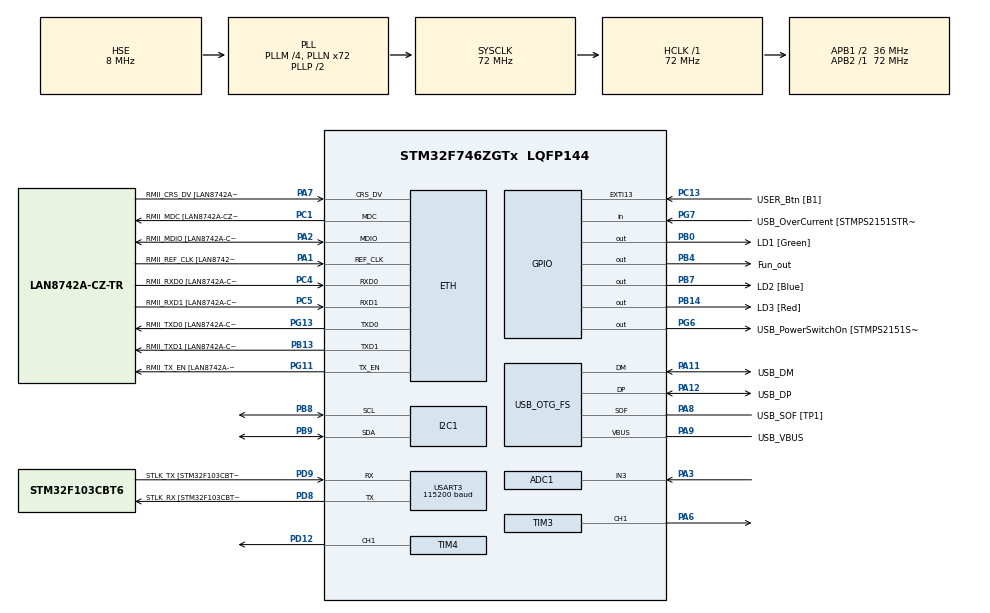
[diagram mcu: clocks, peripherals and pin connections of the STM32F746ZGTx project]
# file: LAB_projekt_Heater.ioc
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ADC1.Channel-0\#ChannelRegularConversion=ADC_CHANNEL_3
ADC1.NbrOfConversionFlag=1
ADC1.Rank-0\#ChannelRegularConversion=1
ADC1.SamplingTime-0\#ChannelRegularConversion=ADC_SAMPLETIME_3CYCLES
ADC1.master=1
Dma.ADC1.0.Direction=DMA_PERIPH_TO_MEMORY
Dma.ADC1.0.FIFOMode=DMA_FIFOMODE_DISABLE
Dma.ADC1.0.Instance=DMA2_Stream0
Dma.ADC1.0.MemDataAlignment=DMA_MDATAALIGN_HALFWORD
Dma.ADC1.0.MemInc=DMA_MINC_ENABLE
Dma.ADC1.0.Mode=DMA_NORMAL
Dma.ADC1.0.PeriphDataAlignment=DMA_PDATAALIGN_HALFWORD
Dma.ADC1.0.PeriphInc=DMA_PINC_DISABLE
Dma.ADC1.0.Priority=DMA_PRIORITY_LOW
Dma.Request0=ADC1
ETH.MediaInterface=HAL_ETH_RMII_MODE
ETH.PHY_Name=LAN8742A_PHY_ADDRESS
ETH.PHY_Value=0
ETH.PhyAddress=0
I2C1.Timing=0x00808CD2
Mcu.Family=STM32F7
Mcu.Name=STM32F746ZGTx
Mcu.Package=LQFP144
NVIC.ADC_IRQn=true\:0\:0\:false\:false\:true\:true\:true\:true
NVIC.DMA2_Stream0_IRQn=true\:0\:0\:false\:false\:true\:false\:true\:true
NVIC.PriorityGroup=NVIC_PRIORITYGROUP_4
NVIC.TIM3_IRQn=true\:0\:0\:true\:false\:true\:true\:true\:true
NVIC.TIM4_IRQn=true\:0\:0\:true\:false\:true\:true\:true\:true
NVIC.TIM6_DAC_IRQn=true\:0\:0\:true\:false\:true\:true\:true\:true
NVIC.USART3_IRQn=true\:0\:0\:false\:false\:true\:true\:true\:true
PA1.GPIO_Label=RMII_REF_CLK [LAN8742A-CZ-TR_REFCLK0]
PA1.Mode=RMII
PA1.Signal=ETH_REF_CLK
PA10.GPIO_Label=USB_ID
PA10.Signal=USB_OTG_FS_ID
PA11.GPIO_Label=USB_DM
PA11.Mode=Device_Only
PA11.Signal=USB_OTG_FS_DM
PA12.GPIO_Label=USB_DP
PA12.Mode=Device_Only
PA12.Signal=USB_OTG_FS_DP
PA13.GPIO_Label=TMS
PA13.Mode=Serial_Wire
PA13.Signal=SYS_JTMS-SWDIO
PA14.GPIO_Label=TCK
PA14.Mode=Serial_Wire
PA14.Signal=SYS_JTCK-SWCLK
PA2.GPIO_Label=RMII_MDIO [LAN8742A-CZ-TR_MDIO]
PA2.Mode=RMII
PA2.Signal=ETH_MDIO
PA3.Signal=ADCx_IN3
PA6.Signal=S_TIM3_CH1
PA7.GPIO_Label=RMII_CRS_DV [LAN8742A-CZ-TR_CRS_DV]
PA7.Mode=RMII
PA7.Signal=ETH_CRS_DV
PA8.GPIO_Label=USB_SOF [TP1]
PA8.Mode=Activate_SOF_FS
PA8.Signal=USB_OTG_FS_SOF
PA9.GPIO_Label=USB_VBUS
PA9.Mode=Activate_VBUS
PA9.Signal=USB_OTG_FS_VBUS
PB0.GPIO_Label=LD1 [Green]
PB0.Signal=GPIO_Output
PB13.GPIO_Label=RMII_TXD1 [LAN8742A-CZ-TR_TXD1]
PB13.Mode=RMII
PB13.Signal=ETH_TXD1
PB14.GPIO_Label=LD3 [Red]
PB14.Signal=GPIO_Output
PB3.GPIO_Label=SW0
PB3.Signal=SYS_JTDO-SWO
PB4.GPIO_Label=Fun_out
PB4.Signal=GPIO_Output
PB7.GPIO_Label=LD2 [Blue]
PB7.Signal=GPIO_Output
PB8.Mode=I2C
PB8.Signal=I2C1_SCL
PB9.Mode=I2C
PB9.Signal=I2C1_SDA
PC1.GPIO_Label=RMII_MDC [LAN8742A-CZ-TR_MDC]
PC1.Mode=RMII
PC1.Signal=ETH_MDC
PC13.GPIO_Label=USER_Btn [B1]
PC13.Signal=GPXTI13
PC14/OSC32_IN.Mode=LSE-External-Oscillator
PC14/OSC32_IN.Signal=RCC_OSC32_IN
PC15/OSC32_OUT.Mode=LSE-External-Oscillator
PC15/OSC32_OUT.Signal=RCC_OSC32_OUT
PC4.GPIO_Label=RMII_RXD0 [LAN8742A-CZ-TR_RXD0]
PC4.Mode=RMII
PC4.Signal=ETH_RXD0
PC5.GPIO_Label=RMII_RXD1 [LAN8742A-CZ-TR_RXD1]
PC5.Mode=RMII
PC5.Signal=ETH_RXD1
PD12.Signal=S_TIM4_CH1
PD8.GPIO_Label=STLK_RX [STM32F103CBT6_PA3]
PD8.GPIO_PuPd=GPIO_PULLUP
PD8.Mode=Asynchronous
PD8.Signal=USART3_TX
PD9.GPIO_Label=STLK_TX [STM32F103CBT6_PA2]
PD9.GPIO_PuPd=GPIO_PULLUP
PD9.Mode=Asynchronous
PD9.Signal=USART3_RX
PG11.GPIO_Label=RMII_TX_EN [LAN8742A-CZ-TR_TXEN]
PG11.Mode=RMII
PG11.Signal=ETH_TX_EN
PG13.GPIO_Label=RMII_TXD0 [LAN8742A-CZ-TR_TXD0]
PG13.Mode=RMII
PG13.Signal=ETH_TXD0
PG6.GPIO_Label=USB_PowerSwitchOn [STMPS2151STR_EN]
PG6.Signal=GPIO_Output
PG7.GPIO_Label=USB_OverCurrent [STMPS2151STR_FAULT]
PG7.Signal=GPIO_Input
PH0/OSC_IN.GPIO_Label=MCO [STM32F103CBT6_PA8]
PH0/OSC_IN.Mode=HSE-External-Clock-Source
PH0/OSC_IN.Signal=RCC_OSC_IN
PH1/OSC_OUT.Mode=HSE-External-Clock-Source
PH1/OSC_OUT.Signal=RCC_OSC_OUT
ProjectManager.HeapSize=0x200
ProjectManager.StackSize=0x400
ProjectManager.TargetToolchain=STM32CubeIDE
RCC.48MHZClocksFreq_Value=24000000
RCC.AHBFreq_Value=72000000
RCC.APB1CLKDivider=RCC_HCLK_DIV2
RCC.APB1Freq_Value=36000000
RCC.APB1TimFreq_Value=72000000
RCC.APB2Freq_Value=72000000
RCC.APB2TimFreq_Value=72000000
RCC.CortexFreq_Value=72000000
RCC.HCLKFreq_Value=72000000
RCC.HSE_VALUE=8000000
RCC.HSI_VALUE=16000000
RCC.PLLM=4
RCC.PLLMUL=RCC_PLL_MUL9
RCC.PLLN=72
RCC.PLLQ=3
RCC.PRESCALERUSB=RCC_USBCLKSOURCE_PLL_DIV1_5
RCC.SYSCLKFreq_VALUE=72000000
RCC.SYSCLKSource=RCC_SYSCLKSOURCE_PLLCLK
RCC.SYSCLKSourceVirtual=RCC_SYSCLKSOURCE_PLLCLK
RCC.USBFreq_Value=48000000
RCC.VCOOutputFreq_Value=144000000
SH.ADCx_IN3.0=ADC1_IN3,IN3
SH.S_TIM3_CH1.0=TIM3_CH1,PWM Generation1 CH1
SH.S_TIM4_CH1.0=TIM4_CH1,Output Compare1 CH1
TIM3.Channel-PWM\ Generation1\ CH1=TIM_CHANNEL_1
TIM3.OC1Preload_PWM=ENABLE
TIM3.Period=999
TIM3.Prescaler=71
TIM3.Pulse-PWM\ Generation1\ CH1=500
TIM4.AutoReloadPreload=TIM_AUTORELOAD_PRELOAD_ENABLE
TIM4.Channel-Output\ Compare1\ CH1=TIM_CHANNEL_1
TIM4.ClockDivision=TIM_CLOCKDIVISION_DIV4
TIM4.Period=59999
TIM4.Prescaler=500
TIM6.Period=99
TIM6.Prescaler=71
USART3.BaudRate=115200
USART3.VirtualMode-Asynchronous=VM_ASYNC
USB_OTG_FS.VirtualMode=Device_Only
VP_TIM14_VS_ClockSourceINT.Mode=Enable_Timer
VP_TIM3_VS_ClockSourceINT.Mode=Internal
VP_TIM4_VS_ClockSourceINT.Mode=Internal
VP_TIM6_VS_ClockSourceINT.Mode=Enable_Timer
board=NUCLEO-F746ZG

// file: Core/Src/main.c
/* USER CODE BEGIN Header */
/**
  ******************************************************************************
  * @file           : main.c
  * @brief          : Main program body
  ******************************************************************************
  * @attention
  *
  * Copyright (c) 2025 STMicroelectronics.
  * All rights reserved.
  *
  * This software is licensed under terms that can be found in the LICENSE file
  * in the root directory of this software component.
  * If no LICENSE file comes with this software, it is provided AS-IS.
  *
  ******************************************************************************
  */
/* USER CODE END Header */
#include "main.h"
#include "adc.h"
#include "dma.h"
#include "eth.h"
#include "i2c.h"
#include "tim.h"
#include "usart.h"
#include "usb_otg.h"
#include "gpio.h"

#include <stdio.h>
#include "string.h"

#define ADC1_TIMEOUT 10
#define ADC_MAX_VALUE 4095.0f  // Max ADC value for 12-bit resolution
#define ADC_REFERENCE_VOLTAGE 5.0f  // Reference voltage in volts

uint8_t rx_buffer[10];
uint8_t tx_buffer[100];
const uint16_t buff_len = 10;

int8_t e_reg = 0;
int8_t u_reg = 0;
uint8_t set_val = 50;  // zmieniono na float
float actual_val = 0.0f;
float adc_voltage_tab[10] = {0.0, 0.0, 0.0, 0.0, 0.0, 0.0, 0.0, 0.0, 0.0, 0.0};
float adc_voltage = 0.0f;

float Kp = 0.23f;  // zmieniono na float
float Ki = 0.074f;  // zmieniono na float
float Kd = 1.9f;  // zmieniono na float=

float integral = 0.0f;
float previous_error = 0.0f;
float pid_output = 0.0f;

const float ADC_TO_Temp_Coeff_A = 10;

float ADC_REG2VOLTAGE(uint32_t adc_value);
float convertADC_to_temp(float adc);
float calculatePID(float setpoint, float measured, float kp, float ki, float kd, float dt);
float calculateAverage();
void updateAdcVoltage(float adc_voltage);

void SystemClock_Config(void);

/* USER CODE BEGIN PFP */

void HAL_UART_RxCpltCallback(UART_HandleTypeDef *huart)
 {
	if(huart == &huart3)
	{
		if(strncmp("Set ", (char*) rx_buffer, 4) == 0)
		{
			set_val = strtol((char*) &rx_buffer[4], 0, 10);
		}

		memset((char*)rx_buffer, "", sizeof(rx_buffer));

		HAL_UART_Receive_IT(&huart3, rx_buffer, buff_len);
	}
}

void HAL_TIM_PeriodElapsedCallback(TIM_HandleTypeDef *htim)
{
    if(htim == &htim4)
    {
        HAL_ADC_Start(&hadc1);
        if (HAL_ADC_PollForConversion(&hadc1, ADC1_TIMEOUT) == HAL_OK)
        {
            adc_voltage = ADC_REG2VOLTAGE(HAL_ADC_GetValue(&hadc1));
            updateAdcVoltage(adc_voltage);

            actual_val = convertADC_to_temp(calculateAverage());
        }
        int tx_msg_len = sprintf((char*)tx_buffer, "SetPoint: %d, Measured: %.2f, Kp: %.3f, Ki: %.4f, Kd: %.3f, PID: %.2f \r\r", set_val, actual_val, Kp, Ki, Kd, pid_output);
        HAL_UART_Transmit(&huart3, tx_buffer, tx_msg_len, 100);
        memset((char*)tx_buffer, 0, sizeof(tx_buffer));
    }

    if (htim == &htim6)
    {
        HAL_ADC_Start(&hadc1);
        if (HAL_ADC_PollForConversion(&hadc1, ADC1_TIMEOUT) == HAL_OK)
        {
            adc_voltage = ADC_REG2VOLTAGE(HAL_ADC_GetValue(&hadc1));
            updateAdcVoltage(adc_voltage);

            actual_val = convertADC_to_temp(calculateAverage());
        }

        // Obliczanie wyjścia PID
        float dt = 0.01f; // Okres przerwania w sekundach (10 ms)
        pid_output = calculatePID(set_val, actual_val, Kp, Ki, Kd, dt);

        // Stosowanie wyjścia PID do PWM
        if (pid_output < 0) pid_output = 0;
        if (pid_output > 100) pid_output = 100;

        __HAL_TIM_SET_COMPARE(&htim3, TIM_CHANNEL_1, (uint32_t)(pid_output * 10));
    }
}

void updateAdcVoltage(float adc_voltage) {
    // Przesunięcie elementów tablicy w prawo
    for (int j = 9; j > 0; j--) {
        adc_voltage_tab[j] = adc_voltage_tab[j - 1];
    }
    // Wstawienie nowej wartości na początek
    adc_voltage_tab[0] = adc_voltage;
}

// Funkcja obliczająca średnią
float calculateAverage() {
    float sum = 0.0;
    for (int i = 0; i < 10; i++) {
        sum += adc_voltage_tab[i];
    }
    return sum / 10; // Zwrócenie średniej
}

/* USER CODE END PFP */

/* USER CODE BEGIN 0 */

float ADC_REG2VOLTAGE(uint32_t adc_value) {
    return ((float) adc_value / ADC_MAX_VALUE) * ADC_REFERENCE_VOLTAGE;
}

float convertADC_to_temp(float adc)
{
    float temp = 0;
    temp = adc * 100;

    return temp;
}

float calculatePID(float setpoint, float measured, float kp, float ki, float kd, float dt) {
    if (setpoint < measured) return 0.0f;
    float error = setpoint - measured;
    integral += error * dt;
    float derivative = (error - previous_error) / dt;
    previous_error = error;
    return (kp * error) + (ki * integral) + (kd * derivative);
}

/* USER CODE END 0 */

int main(void)
{

  /* MCU Configuration--------------------------------------------------------*/

  /* Reset of all peripherals, Initializes the Flash interface and the Systick. */
  HAL_Init();

  /* Configure the system clock */
  SystemClock_Config();

  /* Initialize all configured peripherals */
  MX_GPIO_Init();
  MX_DMA_Init();
  MX_ETH_Init();
  MX_I2C1_Init();
  MX_USART3_UART_Init();
  MX_USB_OTG_FS_PCD_Init();
  MX_TIM3_Init();
  MX_TIM4_Init();
  MX_TIM14_Init();
  MX_ADC1_Init();
  MX_TIM6_Init();
  /* USER CODE BEGIN 2 */

  HAL_TIM_Base_Start_IT(&htim4);
  HAL_TIM_Base_Start_IT(&htim6);

  HAL_TIM_PWM_Start(&htim3, TIM_CHANNEL_1);
  HAL_UART_Receive_IT(&huart3, rx_buffer, buff_len);
  HAL_ADC_Start(&hadc1);

//__HAL_TIM_SET_COMPARE(&htim3, TIM_CHANNEL_1, 0);

  /* USER CODE END 2 */

  /* Infinite loop */
  /* USER CODE BEGIN WHILE */
  while (1)
  {

	  if(set_val - actual_val<=-1){
		  HAL_GPIO_WritePin(GPIOB, Fun_out_Pin, 1);
	  }
	  if(set_val - actual_val>=-0.5){
		  HAL_GPIO_WritePin(GPIOB, Fun_out_Pin, 0);
	  }

    /* USER CODE END WHILE */

  }
}

void SystemClock_Config(void)
{
  RCC_OscInitTypeDef RCC_OscInitStruct = {0};
  RCC_ClkInitTypeDef RCC_ClkInitStruct = {0};

  /** Configure LSE Drive Capability
  */
  HAL_PWR_EnableBkUpAccess();

  /** Configure the main internal regulator output voltage
  */
  __HAL_RCC_PWR_CLK_ENABLE();
  __HAL_PWR_VOLTAGESCALING_CONFIG(PWR_REGULATOR_VOLTAGE_SCALE3);

  /** Initializes the RCC Oscillators according to the specified parameters
  * in the RCC_OscInitTypeDef structure.
  */
  RCC_OscInitStruct.OscillatorType = RCC_OSCILLATORTYPE_HSE;
  RCC_OscInitStruct.HSEState = RCC_HSE_BYPASS;
  RCC_OscInitStruct.PLL.PLLState = RCC_PLL_ON;
  RCC_OscInitStruct.PLL.PLLSource = RCC_PLLSOURCE_HSE;
  RCC_OscInitStruct.PLL.PLLM = 4;
  RCC_OscInitStruct.PLL.PLLN = 72;
  RCC_OscInitStruct.PLL.PLLP = RCC_PLLP_DIV2;
  RCC_OscInitStruct.PLL.PLLQ = 3;
  if (HAL_RCC_OscConfig(&RCC_OscInitStruct) != HAL_OK)
  {
    Error_Handler();
  }

  /** Initializes the CPU, AHB and APB buses clocks
  */
  RCC_ClkInitStruct.ClockType = RCC_CLOCKTYPE_HCLK|RCC_CLOCKTYPE_SYSCLK
                              |RCC_CLOCKTYPE_PCLK1|RCC_CLOCKTYPE_PCLK2;
  RCC_ClkInitStruct.SYSCLKSource = RCC_SYSCLKSOURCE_PLLCLK;
  RCC_ClkInitStruct.AHBCLKDivider = RCC_SYSCLK_DIV1;
  RCC_ClkInitStruct.APB1CLKDivider = RCC_HCLK_DIV2;
  RCC_ClkInitStruct.APB2CLKDivider = RCC_HCLK_DIV1;

  if (HAL_RCC_ClockConfig(&RCC_ClkInitStruct, FLASH_LATENCY_2) != HAL_OK)
  {
    Error_Handler();
  }
}

void Error_Handler(void)
{
  __disable_irq();
  while (1)
  {
  }
}
